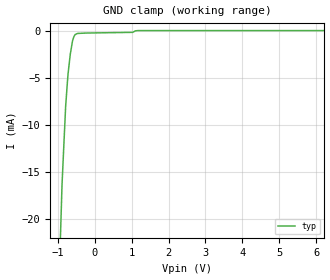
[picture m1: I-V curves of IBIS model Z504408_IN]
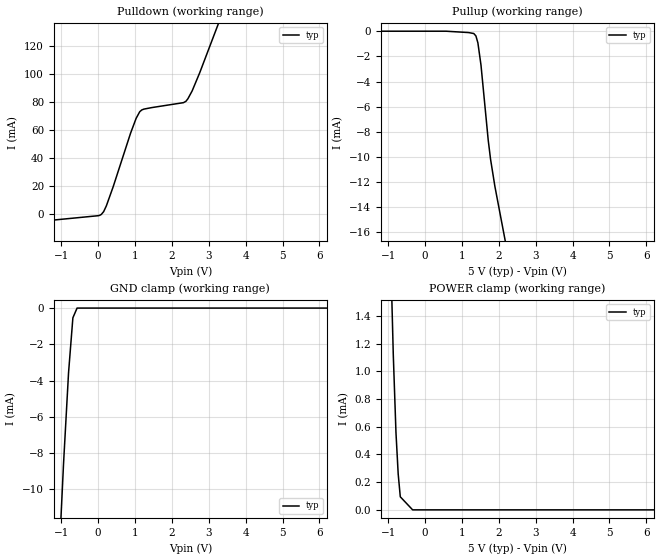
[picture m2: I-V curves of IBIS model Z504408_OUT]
| YOU ARE ONLY AUTHORIZED TO USE THIS SOFTWARE
| ACCORDING TO LICENSOR'S LICENSE RESTRICTIONS.
[IBIS Ver] 3.1
[File Name] sn54ls194aj.ibs
[File Rev] 2.0
[Source] Measured and created by ICX Technology
[Date] Friday 7/14/00 9:08:14 AM
[Copyright]
| (C) COPYRIGHT 1993-2000
| MENTOR GRAPHICS CORPORATION
| ICX STANDARD LIBRARY, ICX PROJECT MODELING,
| ICX CUSTOM MODELING, ICX VENDOR MODEL
| ALL RIGHTS RESERVED.
| THE FOLLOWING ARE TRADEMARKS OR SERVICE MARKS OF
| MENTOR GRAPHICS CORPORATION:ICX (R), ICX STANDARD
| LIBRARY(R), ICX PROJECT MODELING(R), ICX CUSTOM
| MODELING(R), qualityIBIS(TM), MODELVIEWER(TM),
| AND MODELEDITOR(TM)
| ALL COPIES OF SOFTWARE, INCLUDING BUT NOT LIMITED TO
| ANY MODIFICATIONS, ENHANCEMENTS OR DERIVATIVE WORKS,
| MUST CONTAIN ALL MENTOR GRAPHICS CORPORATION'S
| NOTICES AND LEGENDS, INCLUDING THOSE EMBEDDED IN
| SOFTWARE AND THOSE AFFIXED TO SOFTWARE MEDIUM
| AND CONTAINER, AS RECEIVED FROM MENTOR GRAPHICS
| CORPORATION.
|  ZAP Model Builder 2.7
[Component] SN54LS194AJ
[Manufacturer] OnSemiconductor
[Package]
| variable   typ   min   max
R_pkg  .212ohms NA NA
L_pkg  4.758nH NA NA
C_pkg  1.944pF NA NA
[Pin] signal_name  model_name  R_pin  L_pin C_pin
1 _CLR Z504408_IN .224 7.258n 2.683p
2 SR_SER Z504408_IN .216 5.258n 2.19p
3 A Z504408_IN .208 3.758n 1.697p
4 B Z504408_IN .2 2.758n 1.204p
5 C Z504408_IN .2 2.758n 1.204p
6 D Z504408_IN .208 3.758n 1.697p
7 SL_SER Z504408_IN .216 5.258n 2.19p
8 GND GND .224 7.258n 2.683p
9 S0 Z504408_IN .224 7.258n 2.683p
10 S1 Z504408_IN .216 5.258n 2.19p
11 CLK Z504408_IN .208 3.758n 1.697p
12 QD Z504408_OUT .2 2.758n 1.204p
13 QC Z504408_OUT .2 2.758n 1.204p
14 QB Z504408_OUT .208 3.758n 1.697p
15 QA Z504408_OUT .216 5.258n 2.19p
16 VCC POWER .224 7.258n 2.683p
| Models and submodels in the file (2): Z504408_IN (Input), Z504408_OUT (Output)
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| (C) COPYRIGHT 1993-2000
| MENTOR GRAPHICS CORPORATION
| ICX STANDARD LIBRARY, ICX PROJECT MODELING,
| ICX CUSTOM MODELING, ICX VENDOR MODEL
| ALL RIGHTS RESERVED.
| THE FOLLOWING ARE TRADEMARKS OR SERVICE MARKS OF
| MENTOR GRAPHICS CORPORATION:ICX (R), ICX STANDARD
| LIBRARY(R), ICX PROJECT MODELING(R), ICX CUSTOM
| MODELING(R), qualityIBIS(TM), MODELVIEWER(TM),
| AND MODELEDITOR(TM)
| ALL COPIES OF SOFTWARE, INCLUDING BUT NOT LIMITED TO
| ANY MODIFICATIONS, ENHANCEMENTS OR DERIVATIVE WORKS,
| MUST CONTAIN ALL MENTOR GRAPHICS CORPORATION'S
| NOTICES AND LEGENDS, INCLUDING THOSE EMBEDDED IN
| SOFTWARE AND THOSE AFFIXED TO SOFTWARE MEDIUM
| AND CONTAINER, AS RECEIVED FROM MENTOR GRAPHICS
| CORPORATION.
| Model Application Version 1.89 2/18/99.
[Model] Z504408_IN
Model_type Input
Vinl = 800.0mV
Vinh = 2.000V
C_comp 4.000pF NA NA
| variable typ   min   max
[Voltage Range] 5.000V NA NA
[GND Clamp Reference] 0.000V NA NA
[POWER Clamp Reference] 5.000V NA NA
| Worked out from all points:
|   GND clamp passes 1 mA (typ) near -0.59 V on its own axis
[GND Clamp]
-5V       -548.4mA   NA         NA
-881.7mV  -16.32mA   NA         NA
-784.7mV  -8.089mA   NA         NA
-722.5mV  -4.724mA   NA         NA
-659.8mV  -2.539mA   NA         NA
-597.3mV  -1.09mA    NA         NA
-562.4mV  -659.9uA   NA         NA
-527.3mV  -424.6uA   NA         NA
-463.9mV  -309.1uA   NA         NA
1.029V    -192.2uA   NA         NA
1.168V    -4.144uA   NA         NA
10V       -4.144uA   NA         NA
[POWER Clamp]
-5V       0A         NA         NA
10V       0A         NA         NA
| (C) COPYRIGHT 1993-2000
| MENTOR GRAPHICS CORPORATION
| ICX STANDARD LIBRARY, ICX PROJECT MODELING,
| ICX CUSTOM MODELING, ICX VENDOR MODEL
| ALL RIGHTS RESERVED.
| THE FOLLOWING ARE TRADEMARKS OR SERVICE MARKS OF
| MENTOR GRAPHICS CORPORATION:ICX (R), ICX STANDARD
| LIBRARY(R), ICX PROJECT MODELING(R), ICX CUSTOM
| MODELING(R), qualityIBIS(TM), MODELVIEWER(TM),
| AND MODELEDITOR(TM)
| ALL COPIES OF SOFTWARE, INCLUDING BUT NOT LIMITED TO
| ANY MODIFICATIONS, ENHANCEMENTS OR DERIVATIVE WORKS,
| MUST CONTAIN ALL MENTOR GRAPHICS CORPORATION'S
| NOTICES AND LEGENDS, INCLUDING THOSE EMBEDDED IN
| SOFTWARE AND THOSE AFFIXED TO SOFTWARE MEDIUM
| AND CONTAINER, AS RECEIVED FROM MENTOR GRAPHICS
| CORPORATION.
| Model Application Version 1.89 2/18/99.
[Model] Z504408_OUT
Model_type Output
Vref=5.000V
Rref=2.000kohms
Cref=15.00pF
Vmeas=1.300V
C_comp 8.000pF NA NA
| variable typ   min   max
[Voltage Range] 5.000V NA NA
[POWER Clamp Reference] 5.000V NA NA
[Pullup Reference] 5.000V NA NA
[Pulldown Reference] 0.000V NA NA
[GND Clamp Reference] 0.000V NA NA
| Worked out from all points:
|   slope of the pulldown table from 0 to 0.75 V, typ, clamps not added: 15.5 ohm
|   slope of the pullup table from 0 to 0.75 V, typ, clamps not added: 23.1 kohm
|   GND clamp passes 1 mA (typ) near -0.70 V on its own axis
|   POWER clamp passes 1 mA (typ) near -0.84 V on its own axis
[GND Clamp]
-5V       -198.9mA   NA         NA
-1.127V   -16.72mA   NA         NA
-936.1mV  -8.566mA   NA         NA
-800.8mV  -3.564mA   NA         NA
-683.5mV  -536.1uA   NA         NA
-569.6mV  0A         NA         NA
10V       0A         NA         NA
[Pulldown]
-5V       -14.31mA   NA         NA
48.83mV   -1.116mA   NA         NA
150.9mV   1.474mA    NA         NA
224.3mV   5.62mA     NA         NA
881mV     57.54mA    NA         NA
1.031V    68.07mA    NA         NA
1.128V    72.77mA    NA         NA
1.245V    74.66mA    NA         NA
2.378V    80.17mA    NA         NA
2.549V    87.64mA    NA         NA
2.754V    100.6mA    NA         NA
10V       602.1mA    NA         NA
[Pullup]
-5V       12.89uA    NA         NA
566mV     12.89uA    NA         NA
1.182V    -96.04uA   NA         NA
1.323V    -173.1uA   NA         NA
1.381V    -368.3uA   NA         NA
1.434V    -914.7uA   NA         NA
1.518V    -2.684mA   NA         NA
1.714V    -8.658mA   NA         NA
1.777V    -10.17mA   NA         NA
1.895V    -12.34mA   NA         NA
10V       -137.6mA   NA         NA
[POWER Clamp]
-5V       50.23mA    NA         NA
-1.005V   2.615mA    NA         NA
-859mV    1.121mA    NA         NA
-786mV    557uA      NA         NA
-726mV    259.1uA    NA         NA
-669mV    94.21uA    NA         NA
-334.5mV  0A         NA         NA
10V       0A         NA         NA
[Ramp]
| variable typ min max
dV/dt_r 1.951/10.74n NA NA
dV/dt_f 1.951/3.668n NA NA
R_load = 500.0Ohms
